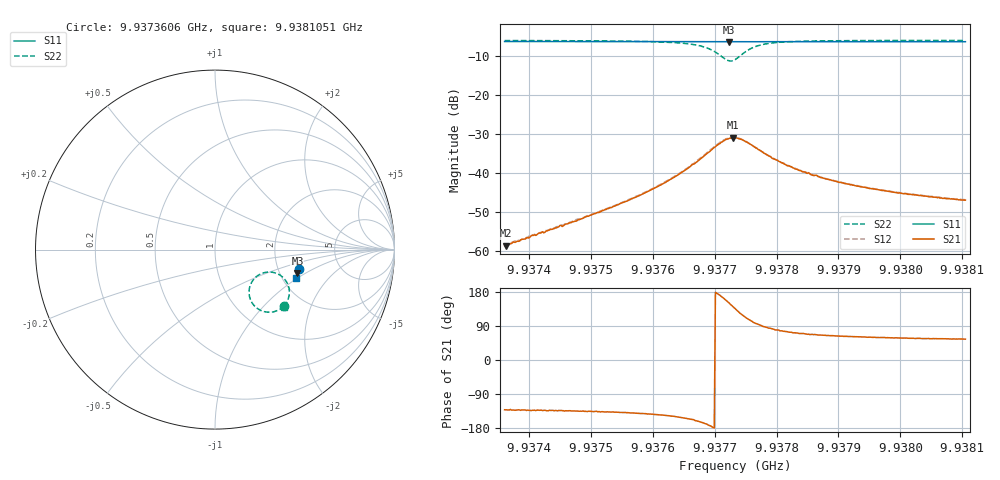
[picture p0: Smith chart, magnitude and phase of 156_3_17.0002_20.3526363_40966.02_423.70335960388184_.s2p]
#  HZ  S  RI  R  50.00
! Rohde & Schwarz Vector Network Analyzer
! Rohde-Schwarz,ZNB20-2Port,1311601062101988,3.16
! Created: UTC 3/20/2024, 10:59:03 PM
! freq[Hz]  re:S11  im:S11  re:S21  im:S21  re:S12  im:S12  re:S22  im:S22
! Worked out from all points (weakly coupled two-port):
!   401 points, 9.9373606 GHz to 9.9381051 GHz, reference 50 ohm
!   highest |S21| = -30.99 dB at 9.9377291 GHz (marker M1); lowest = -58.7 dB at 9.9373624 GHz (marker M2)
!   lowest |S11| = -6.4 dB at 9.9377235 GHz (marker M3), VSWR 2.83, Z = 124 - j42.9 ohm
!   |S11| at or under -10 dB: nowhere
!   |S22| runs from -11.3 to -6.0 dB; largest |S21 - S12| = 0.0013
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9.93736056e9  0.4704 -0.1104  -0.000771 -0.000878  -0.000789 -0.000837  0.3846 -0.3149
9.93736243e9  0.4705 -0.1104  -0.000772 -0.000875  -0.000805 -0.000911  0.3845 -0.3151
9.93748528e9  0.4676 -0.1189  -0.00184 -0.00182  -0.00194 -0.00184  0.3692 -0.3276
9.93755602e9  0.4659 -0.1237  -0.00321 -0.00285  -0.00331 -0.00279  0.3534 -0.3372
9.93761e9  0.4647 -0.1272  -0.00559 -0.00395  -0.00575 -0.00395  0.3306 -0.3455
9.93764909e9  0.4633 -0.1301  -0.00925 -0.00483  -0.00951 -0.00474  0.2979 -0.3492
9.93768446e9  0.4618 -0.1325  -0.0165 -0.00355  -0.017 -0.00323  0.2391 -0.33
9.93769749e9  0.4609 -0.1331  -0.0206 -0.000623  -0.021 -0.000219  0.2104 -0.3017
9.93770866e9  0.4601 -0.1334  -0.0235 0.00389  -0.0243 0.00496  0.1918 -0.2584
9.93772355e9  0.4593 -0.1331  -0.024 0.0138  -0.024 0.0151  0.2057 -0.1794
9.93772913e9  0.4594 -0.133  -0.022 0.0176  -0.0217 0.0186  0.2272 -0.1536
9.93773285e9  0.4596 -0.1329  -0.0202 0.0196  -0.0197 0.0207  0.2453 -0.1402
9.93774216e9  0.4599 -0.1331  -0.0144 0.0229  -0.0138 0.0236  0.2959 -0.1252
9.93775519e9  0.4606 -0.1337  -0.00682 0.0229  -0.00617 0.0233  0.3544 -0.1378
9.93777567e9  0.461 -0.1354  -0.000265 0.0189  0.00043 0.0188  0.3994 -0.1814
9.93779614e9  0.461 -0.137  0.00239 0.0149  0.00284 0.015  0.4123 -0.2168
9.93781476e9  0.4607 -0.1385  0.00325 0.0123  0.00363 0.0123  0.4144 -0.2393
9.93785757e9  0.4598 -0.1418  0.00355 0.00868  0.00394 0.00874  0.4099 -0.2699
9.93791155e9  0.4584 -0.1456  0.00336 0.00644  0.00356 0.00647  0.4021 -0.2899
9.93798229e9  0.4567 -0.1503  0.00301 0.00495  0.00312 0.00492  0.3934 -0.3047
9.93806792e9  0.4545 -0.1558  0.00263 0.00392  0.0028 0.00394  0.3852 -0.316
9.93810514e9  0.4535 -0.1582  0.00257 0.00367  0.00265 0.00367  0.3822 -0.3199
